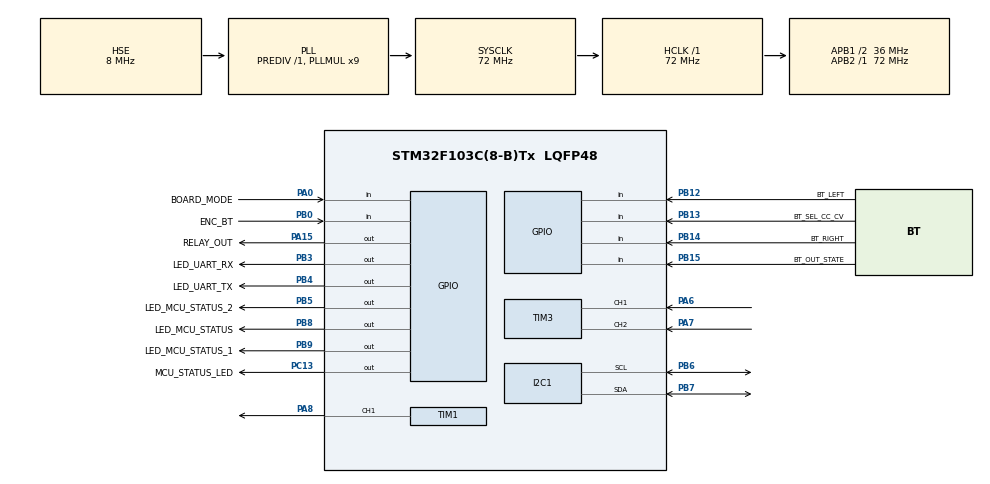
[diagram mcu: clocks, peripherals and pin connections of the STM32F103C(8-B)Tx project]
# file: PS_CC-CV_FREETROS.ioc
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FREERTOS.Tasks01=defaultTask,0,128,StartDefaultTask,Default,NULL,Dynamic,NULL,NULL
FREERTOS.configUSE_NEWLIB_REENTRANT=1
Mcu.Family=STM32F1
Mcu.Name=STM32F103C(8-B)Tx
Mcu.Package=LQFP48
NVIC.PriorityGroup=NVIC_PRIORITYGROUP_4
NVIC.TIM4_IRQn=true\:15\:0\:false\:false\:true\:false\:false\:true\:true
NVIC.TimeBase=TIM4_IRQn
NVIC.TimeBaseIP=TIM4
PA0-WKUP.GPIO_Label=BOARD_MODE
PA0-WKUP.Signal=GPIO_Input
PA13.Mode=Serial_Wire
PA13.Signal=SYS_JTMS-SWDIO
PA14.Mode=Serial_Wire
PA14.Signal=SYS_JTCK-SWCLK
PA15.GPIO_Label=RELAY_OUT
PA15.Signal=GPIO_Output
PA6.Signal=S_TIM3_CH1
PA7.Signal=S_TIM3_CH2
PA8.Signal=S_TIM1_CH1
PB0.GPIO_Label=ENC_BT
PB0.Signal=GPIO_Input
PB12.GPIO_Label=BT_LEFT
PB12.Signal=GPIO_Input
PB13.GPIO_Label=BT_SEL_CC_CV
PB13.Signal=GPIO_Input
PB14.GPIO_Label=BT_RIGHT
PB14.Signal=GPIO_Input
PB15.GPIO_Label=BT_OUT_STATE
PB15.Signal=GPIO_Input
PB3.GPIO_Label=LED_UART_RX
PB3.Signal=GPIO_Output
PB4.GPIO_Label=LED_UART_TX
PB4.Signal=GPIO_Output
PB5.GPIO_Label=LED_MCU_STATUS_2
PB5.Signal=GPIO_Output
PB6.Mode=I2C
PB6.Signal=I2C1_SCL
PB7.Mode=I2C
PB7.Signal=I2C1_SDA
PB8.GPIO_Label=LED_MCU_STATUS
PB8.Signal=GPIO_Output
PB9.GPIO_Label=LED_MCU_STATUS_1
PB9.Signal=GPIO_Output
PC13-TAMPER-RTC.GPIO_Label=MCU_STATUS_LED
PC13-TAMPER-RTC.Signal=GPIO_Output
PD0-OSC_IN.Mode=HSE-External-Oscillator
PD0-OSC_IN.Signal=RCC_OSC_IN
PD1-OSC_OUT.Mode=HSE-External-Oscillator
PD1-OSC_OUT.Signal=RCC_OSC_OUT
ProjectManager.HeapSize=0x200
ProjectManager.StackSize=0x400
ProjectManager.TargetToolchain=STM32CubeIDE
RCC.AHBFreq_Value=72000000
RCC.APB1CLKDivider=RCC_HCLK_DIV2
RCC.APB1Freq_Value=36000000
RCC.APB1TimFreq_Value=72000000
RCC.APB2Freq_Value=72000000
RCC.APB2TimFreq_Value=72000000
RCC.HCLKFreq_Value=72000000
RCC.PLLMUL=RCC_PLL_MUL9
RCC.PLLSourceVirtual=RCC_PLLSOURCE_HSE
RCC.SYSCLKFreq_VALUE=72000000
RCC.SYSCLKSource=RCC_SYSCLKSOURCE_PLLCLK
RCC.USBFreq_Value=72000000
SH.S_TIM1_CH1.0=TIM1_CH1,PWM Generation1 CH1
SH.S_TIM3_CH1.0=TIM3_CH1,Encoder_Interface
SH.S_TIM3_CH2.0=TIM3_CH2,Encoder_Interface
TIM1.AutoReloadPreload=TIM_AUTORELOAD_PRELOAD_ENABLE
TIM1.Channel-PWM\ Generation1\ CH1=TIM_CHANNEL_1
TIM1.Period=999
TIM1.Prescaler=17
TIM3.AutoReloadPreload=TIM_AUTORELOAD_PRELOAD_ENABLE
TIM3.EncoderMode=TIM_ENCODERMODE_TI12
TIM3.IC1Filter=10
VP_FREERTOS_VS_CMSIS_V1.Mode=CMSIS_V1
VP_SYS_VS_tim4.Mode=TIM4
board=custom

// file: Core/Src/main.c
/* USER CODE BEGIN Header */
/**
  ******************************************************************************
  * @file           : main.c
  * @brief          : Main program body
  ******************************************************************************
  * @attention
  *
  * Copyright (c) 2025 STMicroelectronics.
  * All rights reserved.
  *
  * This software is licensed under terms that can be found in the LICENSE file
  * in the root directory of this software component.
  * If no LICENSE file comes with this software, it is provided AS-IS.
  *
  ******************************************************************************
  */
/* USER CODE END Header */
#include "main.h"
#include "cmsis_os.h"

/* USER CODE BEGIN Includes */

#include "ssd1306.h"
#include "ssd1306_fonts.h"
#include "buzzer.h"
#include "hmi.h"
#include "encoder.h"
#include "led.h"
/* USER CODE END Includes */

I2C_HandleTypeDef hi2c1;

TIM_HandleTypeDef htim1;
TIM_HandleTypeDef htim3;

osThreadId defaultTaskHandle;

void SystemClock_Config(void);
static void MX_GPIO_Init(void);
static void MX_I2C1_Init(void);
static void MX_TIM3_Init(void);
static void MX_TIM1_Init(void);
void StartDefaultTask(void const * argument);

int main(void)
{

  /* MCU Configuration--------------------------------------------------------*/

  /* Reset of all peripherals, Initializes the Flash interface and the Systick. */
  HAL_Init();

  /* Configure the system clock */
  SystemClock_Config();

  /* Initialize all configured peripherals */
  MX_GPIO_Init();
  MX_I2C1_Init();
  MX_TIM3_Init();
  MX_TIM1_Init();
  /* USER CODE BEGIN 2 */

  HAL_TIM_Encoder_Start(&htim3, TIM_CHANNEL_ALL);
  HAL_TIM_PWM_Start(&htim1, TIM_CHANNEL_1);

  /* USER CODE END 2 */

  /* Create the thread(s) */
  /* definition and creation of defaultTask */
  osThreadDef(defaultTask, StartDefaultTask, osPriorityNormal, 0, 128);
  defaultTaskHandle = osThreadCreate(osThread(defaultTask), NULL);

  /* Start scheduler */
  osKernelStart();

  /* We should never get here as control is now taken by the scheduler */

  /* Infinite loop */
  while (1)
  {

  }
}

void SystemClock_Config(void)
{
  RCC_OscInitTypeDef RCC_OscInitStruct = {0};
  RCC_ClkInitTypeDef RCC_ClkInitStruct = {0};

  /** Initializes the RCC Oscillators according to the specified parameters
  * in the RCC_OscInitTypeDef structure.
  */
  RCC_OscInitStruct.OscillatorType = RCC_OSCILLATORTYPE_HSE;
  RCC_OscInitStruct.HSEState = RCC_HSE_ON;
  RCC_OscInitStruct.HSEPredivValue = RCC_HSE_PREDIV_DIV1;
  RCC_OscInitStruct.HSIState = RCC_HSI_ON;
  RCC_OscInitStruct.PLL.PLLState = RCC_PLL_ON;
  RCC_OscInitStruct.PLL.PLLSource = RCC_PLLSOURCE_HSE;
  RCC_OscInitStruct.PLL.PLLMUL = RCC_PLL_MUL9;
  if (HAL_RCC_OscConfig(&RCC_OscInitStruct) != HAL_OK)
  {
    Error_Handler();
  }

  /** Initializes the CPU, AHB and APB buses clocks
  */
  RCC_ClkInitStruct.ClockType = RCC_CLOCKTYPE_HCLK|RCC_CLOCKTYPE_SYSCLK
                              |RCC_CLOCKTYPE_PCLK1|RCC_CLOCKTYPE_PCLK2;
  RCC_ClkInitStruct.SYSCLKSource = RCC_SYSCLKSOURCE_PLLCLK;
  RCC_ClkInitStruct.AHBCLKDivider = RCC_SYSCLK_DIV1;
  RCC_ClkInitStruct.APB1CLKDivider = RCC_HCLK_DIV2;
  RCC_ClkInitStruct.APB2CLKDivider = RCC_HCLK_DIV1;

  if (HAL_RCC_ClockConfig(&RCC_ClkInitStruct, FLASH_LATENCY_2) != HAL_OK)
  {
    Error_Handler();
  }
}

static void MX_I2C1_Init(void)
{

  hi2c1.Instance = I2C1;
  hi2c1.Init.ClockSpeed = 100000;
  hi2c1.Init.DutyCycle = I2C_DUTYCYCLE_2;
  hi2c1.Init.OwnAddress1 = 0;
  hi2c1.Init.AddressingMode = I2C_ADDRESSINGMODE_7BIT;
  hi2c1.Init.DualAddressMode = I2C_DUALADDRESS_DISABLE;
  hi2c1.Init.OwnAddress2 = 0;
  hi2c1.Init.GeneralCallMode = I2C_GENERALCALL_DISABLE;
  hi2c1.Init.NoStretchMode = I2C_NOSTRETCH_DISABLE;
  if (HAL_I2C_Init(&hi2c1) != HAL_OK)
  {
    Error_Handler();
  }

}

static void MX_TIM1_Init(void)
{

  TIM_MasterConfigTypeDef sMasterConfig = {0};
  TIM_OC_InitTypeDef sConfigOC = {0};
  TIM_BreakDeadTimeConfigTypeDef sBreakDeadTimeConfig = {0};

  htim1.Instance = TIM1;
  htim1.Init.Prescaler = 17;
  htim1.Init.CounterMode = TIM_COUNTERMODE_UP;
  htim1.Init.Period = 999;
  htim1.Init.ClockDivision = TIM_CLOCKDIVISION_DIV1;
  htim1.Init.RepetitionCounter = 0;
  htim1.Init.AutoReloadPreload = TIM_AUTORELOAD_PRELOAD_ENABLE;
  if (HAL_TIM_PWM_Init(&htim1) != HAL_OK)
  {
    Error_Handler();
  }
  sMasterConfig.MasterOutputTrigger = TIM_TRGO_RESET;
  sMasterConfig.MasterSlaveMode = TIM_MASTERSLAVEMODE_DISABLE;
  if (HAL_TIMEx_MasterConfigSynchronization(&htim1, &sMasterConfig) != HAL_OK)
  {
    Error_Handler();
  }
  sConfigOC.OCMode = TIM_OCMODE_PWM1;
  sConfigOC.Pulse = 0;
  sConfigOC.OCPolarity = TIM_OCPOLARITY_HIGH;
  sConfigOC.OCNPolarity = TIM_OCNPOLARITY_HIGH;
  sConfigOC.OCFastMode = TIM_OCFAST_DISABLE;
  sConfigOC.OCIdleState = TIM_OCIDLESTATE_RESET;
  sConfigOC.OCNIdleState = TIM_OCNIDLESTATE_RESET;
  if (HAL_TIM_PWM_ConfigChannel(&htim1, &sConfigOC, TIM_CHANNEL_1) != HAL_OK)
  {
    Error_Handler();
  }
  sBreakDeadTimeConfig.OffStateRunMode = TIM_OSSR_DISABLE;
  sBreakDeadTimeConfig.OffStateIDLEMode = TIM_OSSI_DISABLE;
  sBreakDeadTimeConfig.LockLevel = TIM_LOCKLEVEL_OFF;
  sBreakDeadTimeConfig.DeadTime = 0;
  sBreakDeadTimeConfig.BreakState = TIM_BREAK_DISABLE;
  sBreakDeadTimeConfig.BreakPolarity = TIM_BREAKPOLARITY_HIGH;
  sBreakDeadTimeConfig.AutomaticOutput = TIM_AUTOMATICOUTPUT_DISABLE;
  if (HAL_TIMEx_ConfigBreakDeadTime(&htim1, &sBreakDeadTimeConfig) != HAL_OK)
  {
    Error_Handler();
  }
  HAL_TIM_MspPostInit(&htim1);

}

static void MX_TIM3_Init(void)
{

  TIM_Encoder_InitTypeDef sConfig = {0};
  TIM_MasterConfigTypeDef sMasterConfig = {0};

  htim3.Instance = TIM3;
  htim3.Init.Prescaler = 0;
  htim3.Init.CounterMode = TIM_COUNTERMODE_UP;
  htim3.Init.Period = 65535;
  htim3.Init.ClockDivision = TIM_CLOCKDIVISION_DIV1;
  htim3.Init.AutoReloadPreload = TIM_AUTORELOAD_PRELOAD_ENABLE;
  sConfig.EncoderMode = TIM_ENCODERMODE_TI12;
  sConfig.IC1Polarity = TIM_ICPOLARITY_RISING;
  sConfig.IC1Selection = TIM_ICSELECTION_DIRECTTI;
  sConfig.IC1Prescaler = TIM_ICPSC_DIV1;
  sConfig.IC1Filter = 10;
  sConfig.IC2Polarity = TIM_ICPOLARITY_RISING;
  sConfig.IC2Selection = TIM_ICSELECTION_DIRECTTI;
  sConfig.IC2Prescaler = TIM_ICPSC_DIV1;
  sConfig.IC2Filter = 0;
  if (HAL_TIM_Encoder_Init(&htim3, &sConfig) != HAL_OK)
  {
    Error_Handler();
  }
  sMasterConfig.MasterOutputTrigger = TIM_TRGO_RESET;
  sMasterConfig.MasterSlaveMode = TIM_MASTERSLAVEMODE_DISABLE;
  if (HAL_TIMEx_MasterConfigSynchronization(&htim3, &sMasterConfig) != HAL_OK)
  {
    Error_Handler();
  }

}

static void MX_GPIO_Init(void)
{
  GPIO_InitTypeDef GPIO_InitStruct = {0};

  /* GPIO Ports Clock Enable */
  __HAL_RCC_GPIOC_CLK_ENABLE();
  __HAL_RCC_GPIOD_CLK_ENABLE();
  __HAL_RCC_GPIOA_CLK_ENABLE();
  __HAL_RCC_GPIOB_CLK_ENABLE();

  /*Configure GPIO pin Output Level */
  HAL_GPIO_WritePin(MCU_STATUS_LED_GPIO_Port, MCU_STATUS_LED_Pin, GPIO_PIN_RESET);

  /*Configure GPIO pin Output Level */
  HAL_GPIO_WritePin(RELAY_OUT_GPIO_Port, RELAY_OUT_Pin, GPIO_PIN_RESET);

  /*Configure GPIO pin Output Level */
  HAL_GPIO_WritePin(GPIOB, LED_UART_RX_Pin|LED_UART_TX_Pin|LED_MCU_STATUS_2_Pin|LED_MCU_STATUS_Pin
                          |LED_MCU_STATUS_1_Pin, GPIO_PIN_RESET);

  /*Configure GPIO pin : MCU_STATUS_LED_Pin */
  GPIO_InitStruct.Pin = MCU_STATUS_LED_Pin;
  GPIO_InitStruct.Mode = GPIO_MODE_OUTPUT_PP;
  GPIO_InitStruct.Pull = GPIO_NOPULL;
  GPIO_InitStruct.Speed = GPIO_SPEED_FREQ_LOW;
  HAL_GPIO_Init(MCU_STATUS_LED_GPIO_Port, &GPIO_InitStruct);

  /*Configure GPIO pin : BOARD_MODE_Pin */
  GPIO_InitStruct.Pin = BOARD_MODE_Pin;
  GPIO_InitStruct.Mode = GPIO_MODE_INPUT;
  GPIO_InitStruct.Pull = GPIO_NOPULL;
  HAL_GPIO_Init(BOARD_MODE_GPIO_Port, &GPIO_InitStruct);

  /*Configure GPIO pins : ENC_BT_Pin BT_LEFT_Pin BT_SEL_CC_CV_Pin BT_RIGHT_Pin
                           BT_OUT_STATE_Pin */
  GPIO_InitStruct.Pin = ENC_BT_Pin|BT_LEFT_Pin|BT_SEL_CC_CV_Pin|BT_RIGHT_Pin
                          |BT_OUT_STATE_Pin;
  GPIO_InitStruct.Mode = GPIO_MODE_INPUT;
  GPIO_InitStruct.Pull = GPIO_NOPULL;
  HAL_GPIO_Init(GPIOB, &GPIO_InitStruct);

  /*Configure GPIO pin : RELAY_OUT_Pin */
  GPIO_InitStruct.Pin = RELAY_OUT_Pin;
  GPIO_InitStruct.Mode = GPIO_MODE_OUTPUT_PP;
  GPIO_InitStruct.Pull = GPIO_NOPULL;
  GPIO_InitStruct.Speed = GPIO_SPEED_FREQ_LOW;
  HAL_GPIO_Init(RELAY_OUT_GPIO_Port, &GPIO_InitStruct);

  /*Configure GPIO pins : LED_UART_RX_Pin LED_UART_TX_Pin LED_MCU_STATUS_2_Pin LED_MCU_STATUS_Pin
                           LED_MCU_STATUS_1_Pin */
  GPIO_InitStruct.Pin = LED_UART_RX_Pin|LED_UART_TX_Pin|LED_MCU_STATUS_2_Pin|LED_MCU_STATUS_Pin
                          |LED_MCU_STATUS_1_Pin;
  GPIO_InitStruct.Mode = GPIO_MODE_OUTPUT_PP;
  GPIO_InitStruct.Pull = GPIO_NOPULL;
  GPIO_InitStruct.Speed = GPIO_SPEED_FREQ_LOW;
  HAL_GPIO_Init(GPIOB, &GPIO_InitStruct);

}

void StartDefaultTask(void const * argument)
{
  /* USER CODE BEGIN 5 */
  /* Infinite loop */
  ssd1306_Init();
  hmi_init();
  encoder_init();
  buzzer_init();
  led_init();

  HAL_GPIO_WritePin(MCU_STATUS_LED_GPIO_Port, MCU_STATUS_LED_Pin, GPIO_PIN_SET);
  for(;;)
  {
    static uint16_t time = 0;

    if(time > 0)
    {
      time --;
    }
    else
    {
      time = 2;
      led_set_pulse(LED_NAME_UART_TX, LED_MODE_SHORT_PULSE);
    }
   // led_set_pulse(LED_NAME_UART_TX, LED_MODE_HEARTBEAT_PULSE);
    vTaskDelay(500);
  }
  /* USER CODE END 5 */
}

void HAL_TIM_PeriodElapsedCallback(TIM_HandleTypeDef *htim)
{
  if (htim->Instance == TIM4) {
    HAL_IncTick();
  }
}

void Error_Handler(void)
{
  __disable_irq();
  while (1)
  {
  }
}
